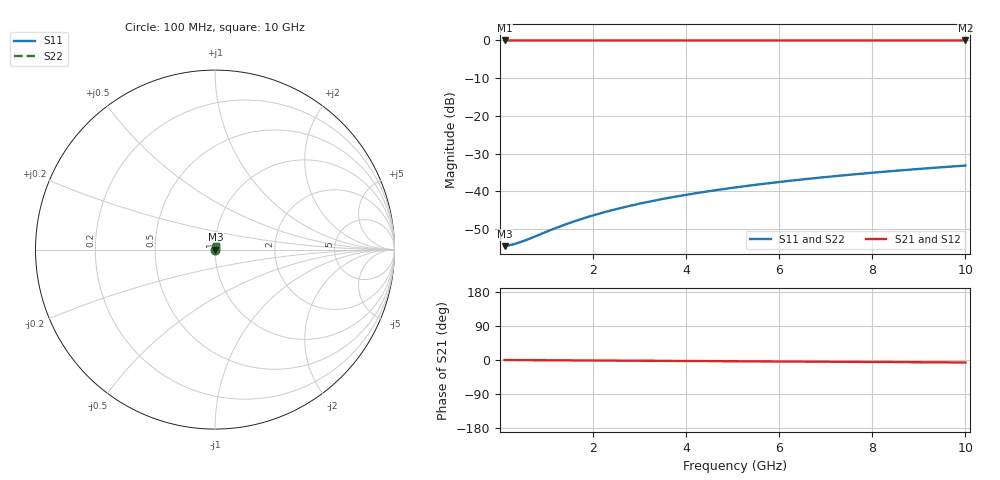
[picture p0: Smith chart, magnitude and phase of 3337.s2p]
# Hz S RI R 50.00
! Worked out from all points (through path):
!   100 points, 100 MHz to 10 GHz, reference 50 ohm
!   highest |S21| = -0.02 dB at 100 MHz (marker M1); lowest = 0.0 dB at 10 GHz (marker M2)
!   lowest |S11| = -54.5 dB at 100 MHz (marker M3), VSWR 1.00, Z = 50.2 + j0.0218 ohm
!   |S11| at or under -10 dB: start of sweep to end of sweep
!   |S22| runs from -54.5 to -33.2 dB; largest |S21 - S12| = 0
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1e8  0.00187 0.000217  0.9981 -0.00114  0.9981 -0.00114  0.00187 0.000217
2e8  0.00188 0.000435  0.9981 -0.00227  0.9981 -0.00227  0.00188 0.000435
3e8  0.00189 0.000652  0.9981 -0.00341  0.9981 -0.00341  0.00189 0.000652
5e8  0.00191 0.00109  0.9981 -0.00568  0.9981 -0.00568  0.00191 0.00109
1.1e9  0.00196 0.00239  0.998 -0.0125  0.998 -0.0125  0.00196 0.00239
1.3e9  0.00197 0.00283  0.9979 -0.0148  0.9979 -0.0148  0.00197 0.00283
1.5e9  0.00199 0.00326  0.9979 -0.0171  0.9979 -0.0171  0.00199 0.00326
1.8e9  0.00203 0.00391  0.9978 -0.0205  0.9978 -0.0205  0.00203 0.00391
2.1e9  0.00206 0.00456  0.9977 -0.0239  0.9977 -0.0239  0.00206 0.00456
2.5e9  0.00211 0.00543  0.9976 -0.0284  0.9976 -0.0284  0.00211 0.00543
2.9e9  0.00218 0.0063  0.9974 -0.033  0.9974 -0.033  0.00218 0.0063
3.4e9  0.00226 0.00738  0.9972 -0.0387  0.9972 -0.0387  0.00226 0.00738
3.8e9  0.00234 0.00824  0.997 -0.0432  0.997 -0.0432  0.00234 0.00824
4.2e9  0.00243 0.00911  0.9968 -0.0477  0.9968 -0.0477  0.00243 0.00911
4.6e9  0.00252 0.00997  0.9965 -0.0523  0.9965 -0.0523  0.00252 0.00997
5.1e9  0.00265 0.0111  0.9962 -0.058  0.9962 -0.058  0.00265 0.0111
5.9e9  0.00288 0.0128  0.9956 -0.067  0.9956 -0.067  0.00288 0.0128
6.7e9  0.00314 0.0145  0.9949 -0.0761  0.9949 -0.0761  0.00314 0.0145
7.5e9  0.00343 0.0162  0.9941 -0.0852  0.9941 -0.0852  0.00343 0.0162
8.4e9  0.00379 0.0181  0.9931 -0.0954  0.9931 -0.0954  0.00379 0.0181
9.2e9  0.00415 0.0198  0.9922 -0.1045  0.9922 -0.1045  0.00415 0.0198
1e10  0.00454 0.0215  0.9911 -0.1135  0.9911 -0.1135  0.00454 0.0215
